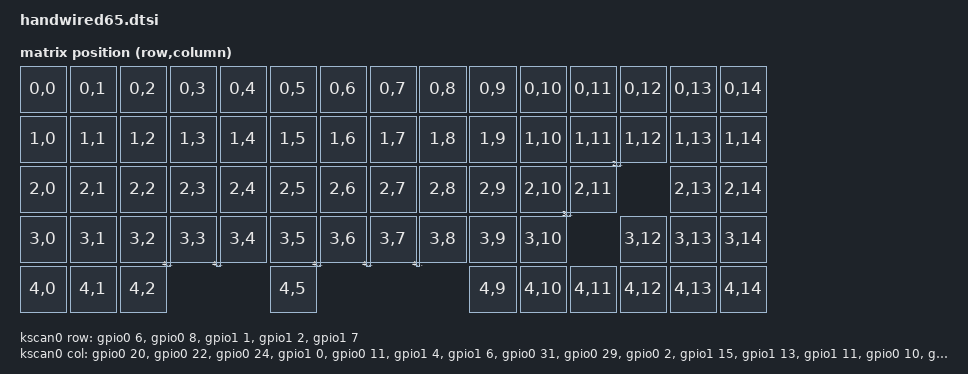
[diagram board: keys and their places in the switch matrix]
/*
 * Copyright (c) 2024 Alex Girard
 *
 * SPDX-License-Identifier: MIT
 *
 * Hand-wired 65% ANSI keyboard (CIDOO case)
 * Board: Pro Micro NRF52840 (nice!nano compatible clone)
 * Matrix: 5 rows x 15 columns = 75 positions (68 used)
 *
 * Physical layout:
 * ┌───┬───┬───┬───┬───┬───┬───┬───┬───┬───┬───┬───┬───┬─────┬───┐
 * │Esc│ 1 │ 2 │ 3 │ 4 │ 5 │ 6 │ 7 │ 8 │ 9 │ 0 │ - │ = │Bksp │Del│
 * ├───┴─┬─┴─┬─┴─┬─┴─┬─┴─┬─┴─┬─┴─┬─┴─┬─┴─┬─┴─┬─┴─┬─┴─┬─┴─┬───┴───┤
 * │ Tab │ Q │ W │ E │ R │ T │ Y │ U │ I │ O │ P │ [ │ ] │  \  │PgU│
 * ├─────┴┬──┴┬──┴┬──┴┬──┴┬──┴┬──┴┬──┴┬──┴┬──┴┬──┴┬──┴┬──┴─────┬───┤
 * │ Caps │ A │ S │ D │ F │ G │ H │ J │ K │ L │ ; │ ' │ Enter  │PgD│
 * ├──────┴─┬─┴─┬─┴─┬─┴─┬─┴─┬─┴─┬─┴─┬─┴─┬─┴─┬─┴─┬─┴─┬───┬───┬───┤
 * │ Shift  │ Z │ X │ C │ V │ B │ N │ M │ , │ . │ / │Sft│ ▲ │End│
 * ├────┬───┴┬──┴─┬─┴───┴───┴───┴───┴───┴──┬┴──┬┴──┬┴──┬───┬───┬───┤
 * │Ctrl│GUI │Alt │         Space           │Alt│Fn │Ctl│ ◄ │ ▼ │ ► │
 * └────┴────┴────┴─────────────────────────┴───┴───┴───┴───┴───┴───┘
 *
 * Wiring guide (Pro Micro NRF52840):
 *
 *  MCU Left Side          MCU Right Side       Extra Pads (bottom)
 *  ─────────────          ──────────────       ───────────────────
 *  D1  / P0.06 → ROW0    D21 / P0.31 → COL7   P1.01 → ROW2
 *  D0  / P0.08 → ROW1    D20 / P0.29 → COL8   P1.02 → ROW3
 *  GND                    D19 / P0.02 → COL9   P1.07 → ROW4
 *  GND                    D18 / P1.15 → COL10
 *  D2  / P0.17 → (free)  D15 / P1.13 → COL11
 *  D3  / P0.20 → COL0    D14 / P1.11 → COL12
 *  D4  / P0.22 → COL1    D16 / P0.10 → COL13
 *  D5  / P0.24 → COL2    D10 / P0.09 → COL14
 *  D6  / P1.00 → COL3
 *  D7  / P0.11 → COL4
 *  D8  / P1.04 → COL5
 *  D9  / P1.06 → COL6
 */

#include <dt-bindings/zmk/matrix_transform.h>
#include <physical_layouts.dtsi>

/ {
    chosen {
        zmk,kscan = &kscan0;
        zmk,physical-layout = &hw65_layout;
    };

    default_transform: keymap_transform_0 {
        compatible = "zmk,matrix-transform";
        columns = <15>;
        rows = <5>;

        /*
         * NOTE: This transform assumes standard 65% ANSI stagger.
         * Positions marked with &none in the keymap are suspected
         * empty matrix positions (no physical switch). You may need
         * to adjust after testing which matrix positions fire.
         */
        map = <
            RC(0,0)  RC(0,1)  RC(0,2)  RC(0,3)  RC(0,4)  RC(0,5)  RC(0,6)  RC(0,7)  RC(0,8)  RC(0,9)  RC(0,10) RC(0,11) RC(0,12) RC(0,13) RC(0,14)
            RC(1,0)  RC(1,1)  RC(1,2)  RC(1,3)  RC(1,4)  RC(1,5)  RC(1,6)  RC(1,7)  RC(1,8)  RC(1,9)  RC(1,10) RC(1,11) RC(1,12) RC(1,13) RC(1,14)
            RC(2,0)  RC(2,1)  RC(2,2)  RC(2,3)  RC(2,4)  RC(2,5)  RC(2,6)  RC(2,7)  RC(2,8)  RC(2,9)  RC(2,10) RC(2,11) RC(2,12) RC(2,13) RC(2,14)
            RC(3,0)  RC(3,1)  RC(3,2)  RC(3,3)  RC(3,4)  RC(3,5)  RC(3,6)  RC(3,7)  RC(3,8)  RC(3,9)  RC(3,10) RC(3,11) RC(3,12) RC(3,13) RC(3,14)
            RC(4,0)  RC(4,1)  RC(4,2)  RC(4,3)  RC(4,4)  RC(4,5)  RC(4,6)  RC(4,7)  RC(4,8)  RC(4,9)  RC(4,10) RC(4,11) RC(4,12) RC(4,13) RC(4,14)
        >;
    };

    kscan0: kscan_0 {
        compatible = "zmk,kscan-gpio-matrix";
        wakeup-source;

        diode-direction = "col2row";

        /*
         * IMPORTANT: Using raw nRF52840 GPIO references because this
         * Pro Micro NRF52840 clone has different pin mappings than the
         * nice!nano v2. Do NOT use &pro_micro references with this board.
         *
         * Rows use D1, D0 (header) + P1.01, P1.02, P1.07 (bottom pads).
         * Columns use D3-D10, D14-D16, D18-D21 (all header pins).
         */

        row-gpios
            = <&gpio0 6  (GPIO_ACTIVE_HIGH | GPIO_PULL_DOWN)>  /* ROW0 - D1    */
            , <&gpio0 8  (GPIO_ACTIVE_HIGH | GPIO_PULL_DOWN)>  /* ROW1 - D0    */
            , <&gpio1 1  (GPIO_ACTIVE_HIGH | GPIO_PULL_DOWN)>  /* ROW2 - P1.01 */
            , <&gpio1 2  (GPIO_ACTIVE_HIGH | GPIO_PULL_DOWN)>  /* ROW3 - P1.02 */
            , <&gpio1 7  (GPIO_ACTIVE_HIGH | GPIO_PULL_DOWN)>  /* ROW4 - P1.07 */
            ;

        col-gpios
            = <&gpio0 20 GPIO_ACTIVE_HIGH>  /* COL0  - D3  (front-left)  */
            , <&gpio0 22 GPIO_ACTIVE_HIGH>  /* COL1  - D4  */
            , <&gpio0 24 GPIO_ACTIVE_HIGH>  /* COL2  - D5  */
            , <&gpio1 0  GPIO_ACTIVE_HIGH>  /* COL3  - D6  */
            , <&gpio0 11 GPIO_ACTIVE_HIGH>  /* COL4  - D7  */
            , <&gpio1 4  GPIO_ACTIVE_HIGH>  /* COL5  - D8  */
            , <&gpio1 6  GPIO_ACTIVE_HIGH>  /* COL6  - D9  */
            , <&gpio0 31 GPIO_ACTIVE_HIGH>  /* COL7  - D21 */
            , <&gpio0 29 GPIO_ACTIVE_HIGH>  /* COL8  - D20 */
            , <&gpio0 2  GPIO_ACTIVE_HIGH>  /* COL9  - D19 */
            , <&gpio1 15 GPIO_ACTIVE_HIGH>  /* COL10 - D18 */
            , <&gpio1 13 GPIO_ACTIVE_HIGH>  /* COL11 - D15 */
            , <&gpio1 11 GPIO_ACTIVE_HIGH>  /* COL12 - D14 */
            , <&gpio0 10 GPIO_ACTIVE_HIGH>  /* COL13 - D16 */
            , <&gpio0 9  GPIO_ACTIVE_HIGH>  /* COL14 - D10 (front-right) */
            ;
    };

    hw65_layout: hw65_layout {
        compatible = "zmk,physical-layout";
        display-name = "65%";
        transform = <&default_transform>;
        kscan = <&kscan0>;

        keys
            = <&key_physical_attrs 100 100 0 0 0 0 0>  /* pos 0 */
            , <&key_physical_attrs 100 100 100 0 0 0 0>  /* pos 1 */
            , <&key_physical_attrs 100 100 200 0 0 0 0>  /* pos 2 */
            , <&key_physical_attrs 100 100 300 0 0 0 0>  /* pos 3 */
            , <&key_physical_attrs 100 100 400 0 0 0 0>  /* pos 4 */
            , <&key_physical_attrs 100 100 500 0 0 0 0>  /* pos 5 */
            , <&key_physical_attrs 100 100 600 0 0 0 0>  /* pos 6 */
            , <&key_physical_attrs 100 100 700 0 0 0 0>  /* pos 7 */
            , <&key_physical_attrs 100 100 800 0 0 0 0>  /* pos 8 */
            , <&key_physical_attrs 100 100 900 0 0 0 0>  /* pos 9 */
            , <&key_physical_attrs 100 100 1000 0 0 0 0>  /* pos 10 */
            , <&key_physical_attrs 100 100 1100 0 0 0 0>  /* pos 11 */
            , <&key_physical_attrs 100 100 1200 0 0 0 0>  /* pos 12 */
            , <&key_physical_attrs 100 100 1300 0 0 0 0>  /* pos 13 */
            , <&key_physical_attrs 100 100 1400 0 0 0 0>  /* pos 14 */
            , <&key_physical_attrs 100 100 0 100 0 0 0>  /* pos 15 */
            , <&key_physical_attrs 100 100 100 100 0 0 0>  /* pos 16 */
            , <&key_physical_attrs 100 100 200 100 0 0 0>  /* pos 17 */
            , <&key_physical_attrs 100 100 300 100 0 0 0>  /* pos 18 */
            , <&key_physical_attrs 100 100 400 100 0 0 0>  /* pos 19 */
            , <&key_physical_attrs 100 100 500 100 0 0 0>  /* pos 20 */
            , <&key_physical_attrs 100 100 600 100 0 0 0>  /* pos 21 */
            , <&key_physical_attrs 100 100 700 100 0 0 0>  /* pos 22 */
            , <&key_physical_attrs 100 100 800 100 0 0 0>  /* pos 23 */
            , <&key_physical_attrs 100 100 900 100 0 0 0>  /* pos 24 */
            , <&key_physical_attrs 100 100 1000 100 0 0 0>  /* pos 25 */
            , <&key_physical_attrs 100 100 1100 100 0 0 0>  /* pos 26 */
            , <&key_physical_attrs 100 100 1200 100 0 0 0>  /* pos 27 */
            , <&key_physical_attrs 100 100 1300 100 0 0 0>  /* pos 28 */
            , <&key_physical_attrs 100 100 1400 100 0 0 0>  /* pos 29 */
            , <&key_physical_attrs 100 100 0 200 0 0 0>  /* pos 30 */
            , <&key_physical_attrs 100 100 100 200 0 0 0>  /* pos 31 */
            , <&key_physical_attrs 100 100 200 200 0 0 0>  /* pos 32 */
            , <&key_physical_attrs 100 100 300 200 0 0 0>  /* pos 33 */
            , <&key_physical_attrs 100 100 400 200 0 0 0>  /* pos 34 */
            , <&key_physical_attrs 100 100 500 200 0 0 0>  /* pos 35 */
            , <&key_physical_attrs 100 100 600 200 0 0 0>  /* pos 36 */
            , <&key_physical_attrs 100 100 700 200 0 0 0>  /* pos 37 */
            , <&key_physical_attrs 100 100 800 200 0 0 0>  /* pos 38 */
            , <&key_physical_attrs 100 100 900 200 0 0 0>  /* pos 39 */
            , <&key_physical_attrs 100 100 1000 200 0 0 0>  /* pos 40 */
            , <&key_physical_attrs 100 100 1100 200 0 0 0>  /* pos 41 */
            , <&key_physical_attrs 0 0 1200 200 0 0 0>  /* gap pos 42 */
            , <&key_physical_attrs 100 100 1300 200 0 0 0>  /* pos 43 */
            , <&key_physical_attrs 100 100 1400 200 0 0 0>  /* pos 44 */
            , <&key_physical_attrs 100 100 0 300 0 0 0>  /* pos 45 */
            , <&key_physical_attrs 100 100 100 300 0 0 0>  /* pos 46 */
            , <&key_physical_attrs 100 100 200 300 0 0 0>  /* pos 47 */
            , <&key_physical_attrs 100 100 300 300 0 0 0>  /* pos 48 */
            , <&key_physical_attrs 100 100 400 300 0 0 0>  /* pos 49 */
            , <&key_physical_attrs 100 100 500 300 0 0 0>  /* pos 50 */
            , <&key_physical_attrs 100 100 600 300 0 0 0>  /* pos 51 */
            , <&key_physical_attrs 100 100 700 300 0 0 0>  /* pos 52 */
            , <&key_physical_attrs 100 100 800 300 0 0 0>  /* pos 53 */
            , <&key_physical_attrs 100 100 900 300 0 0 0>  /* pos 54 */
            , <&key_physical_attrs 100 100 1000 300 0 0 0>  /* pos 55 */
            , <&key_physical_attrs 0 0 1100 300 0 0 0>  /* gap pos 56 */
            , <&key_physical_attrs 100 100 1200 300 0 0 0>  /* pos 57 */
            , <&key_physical_attrs 100 100 1300 300 0 0 0>  /* pos 58 */
            , <&key_physical_attrs 100 100 1400 300 0 0 0>  /* pos 59 */
            , <&key_physical_attrs 100 100 0 400 0 0 0>  /* pos 60 */
            , <&key_physical_attrs 100 100 100 400 0 0 0>  /* pos 61 */
            , <&key_physical_attrs 100 100 200 400 0 0 0>  /* pos 62 */
            , <&key_physical_attrs 0 0 300 400 0 0 0>  /* gap pos 63 */
            , <&key_physical_attrs 0 0 400 400 0 0 0>  /* gap pos 64 */
            , <&key_physical_attrs 100 100 500 400 0 0 0>  /* pos 65 */
            , <&key_physical_attrs 0 0 600 400 0 0 0>  /* gap pos 66 */
            , <&key_physical_attrs 0 0 700 400 0 0 0>  /* gap pos 67 */
            , <&key_physical_attrs 0 0 800 400 0 0 0>  /* gap pos 68 */
            , <&key_physical_attrs 100 100 900 400 0 0 0>  /* pos 69 */
            , <&key_physical_attrs 100 100 1000 400 0 0 0>  /* pos 70 */
            , <&key_physical_attrs 100 100 1100 400 0 0 0>  /* pos 71 */
            , <&key_physical_attrs 100 100 1200 400 0 0 0>  /* pos 72 */
            , <&key_physical_attrs 100 100 1300 400 0 0 0>  /* pos 73 */
            , <&key_physical_attrs 100 100 1400 400 0 0 0>  /* pos 74 */
            ;
    };
};
